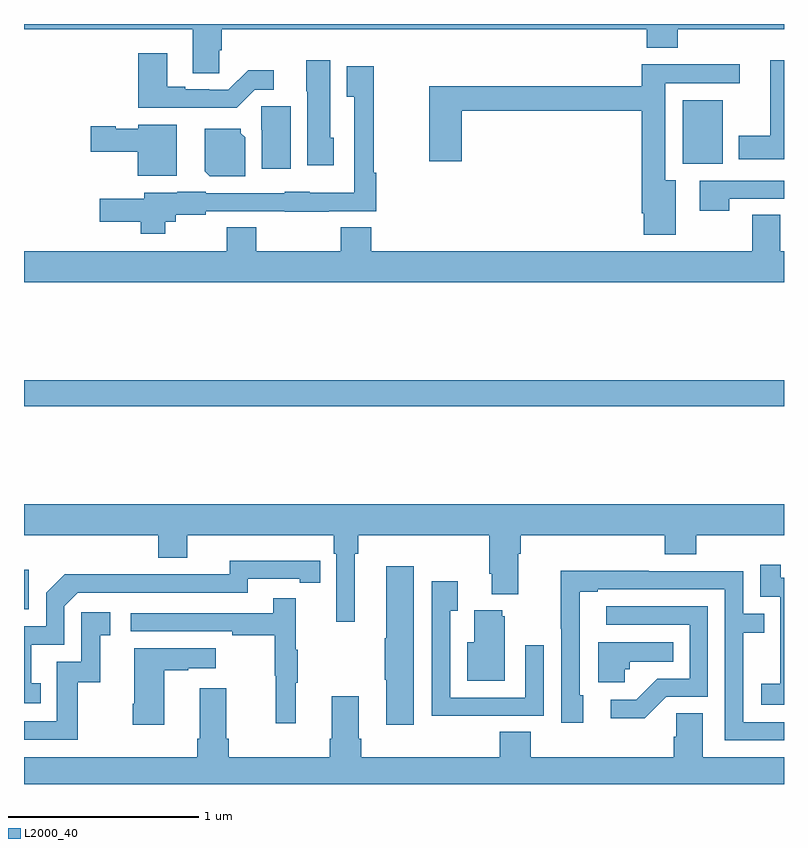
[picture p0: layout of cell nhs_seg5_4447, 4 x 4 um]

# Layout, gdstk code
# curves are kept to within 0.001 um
import gdstk
lib = gdstk.Library(unit=1e-6, precision=1e-09)
def R(c, l, rs):  # rectangles x0, y0, x1, y1
    for r in rs: c.add(gdstk.rectangle(r[:2], r[2:], *l))
def P(c, l, *ps):  # polygons
    for p in ps: c.add(gdstk.Polygon(p, *l))
L2000_40 = (2000, 40)

nhs_seg5_4447 = lib.new_cell('nhs_seg5_4447')
R(nhs_seg5_4447, L2000_40, [(373,841.719,373.026,841.927), (373,842.788,377,842.924), (376.466,844.064,376.678,844.399)])
P(nhs_seg5_4447, L2000_40, [(374.028,844.662),(374.042,844.662),(374.042,844.772),(376.277,844.772),(376.277,844.673),(376.442,844.673),(376.442,844.772),(377,844.772),(377,844.799),(373,844.799),(373,844.772),(373.889,844.772),(373.889,844.54),(374.028,844.54)],
  [(374.214,844.452),(374.314,844.452),(374.314,844.555),(374.179,844.555),(374.076,844.452),(373.976,844.452),(373.976,844.455),(373.849,844.455),(373.849,844.468),(373.753,844.468),(373.753,844.645),(373.601,844.645),(373.601,844.358),(374.12,844.358)],
  [(377,844.609),(376.928,844.609),(376.928,844.21),(376.763,844.21),(376.763,844.088),(377,844.088)],
  [(374.629,844.2),(374.611,844.2),(374.611,844.609),(374.486,844.609),(374.486,844.446),(374.492,844.446),(374.492,844.056),(374.629,844.056)],
  [(376.429,843.976),(376.375,843.976),(376.375,844.488),(376.768,844.488),(376.768,844.586),(376.25,844.586),(376.25,844.471),(375.134,844.471),(375.134,844.077),(375.305,844.077),(375.305,844.342),(376.25,844.342),(376.25,843.802),(376.262,843.802),(376.262,843.69),(376.429,843.69)],
  [(373.744,843.758),(373.799,843.758),(373.799,843.794),(373.956,843.794),(373.956,843.813),(374.373,843.813),(374.373,843.812),(374.605,843.812),(374.605,843.813),(374.855,843.813),(374.855,844.016),(374.84,844.016),(374.84,844.576),(374.699,844.576),(374.699,844.415),(374.739,844.415),(374.739,843.91),(374.505,843.91),(374.505,843.916),(374.373,843.916),(374.373,843.909),(373.956,843.909),(373.956,843.916),(373.806,843.916),(373.806,843.91),(373.634,843.91),(373.634,843.88),(373.398,843.88),(373.398,843.758),(373.615,843.758),(373.615,843.695),(373.744,843.695)],
  [(374.404,844.365),(374.248,844.365),(374.248,844.242),(374.252,844.242),(374.252,844.038),(374.404,844.038)],
  [(373.804,844.27),(373.602,844.27),(373.602,844.249),(373.482,844.249),(373.482,844.262),(373.35,844.262),(373.35,844.127),(373.598,844.127),(373.598,844.001),(373.804,844.001)],
  [(374.164,844.202),(374.142,844.224),(374.142,844.249),(373.952,844.249),(373.952,844.024),(373.978,843.998),(374.164,843.998)],
  [(376.713,843.879),(377,843.879),(377,843.975),(376.557,843.975),(376.557,843.816),(376.713,843.816)],
  [(377,843.604),(376.981,843.604),(376.981,843.794),(376.834,843.794),(376.834,843.604),(374.828,843.604),(374.828,843.728),(374.668,843.728),(374.668,843.604),(374.223,843.604),(374.223,843.728),(374.068,843.728),(374.068,843.604),(373,843.604),(373,843.44),(377,843.44)],
  [(374.74,842.012),(374.759,842.012),(374.759,842.108),(375.449,842.108),(375.449,841.906),(375.461,841.906),(375.461,841.799),(375.601,841.799),(375.601,842.012),(375.614,842.012),(375.614,842.108),(376.373,842.108),(376.373,842.009),(376.538,842.009),(376.538,842.108),(377,842.108),(377,842.272),(373,842.272),(373,842.108),(373.706,842.108),(373.706,841.991),(373.858,841.991),(373.858,842.108),(374.63,842.108),(374.63,842.012),(374.643,842.012),(374.643,841.653),(374.74,841.653)],
  [(373.088,841.329),(373.039,841.329),(373.039,841.533),(373.212,841.533),(373.212,841.734),(373.284,841.806),(374.178,841.806),(374.178,841.878),(374.45,841.878),(374.45,841.858),(374.558,841.858),(374.558,841.974),(374.082,841.975),(374.082,841.902),(373.622,841.902),(373.622,841.904),(373.214,841.904),(373.116,841.806),(373.116,841.629),(373,841.629),(373,841.224),(373.088,841.224)],
  [(377,841.884),(376.984,841.884),(376.984,841.954),(376.875,841.954),(376.875,841.785),(376.98,841.785),(376.98,841.556),(376.979,841.556),(376.979,841.327),(376.881,841.327),(376.881,841.217),(377,841.217)],
  [(375.052,841.945),(374.906,841.945),(374.906,841.565),(374.899,841.565),(374.899,841.348),(374.906,841.348),(374.906,841.11),(375.052,841.11)],
  [(377,841.125),(376.785,841.125),(376.785,841.594),(376.895,841.594),(376.895,841.695),(376.785,841.695),(376.785,841.92),(376.289,841.92),(376.289,841.922),(375.826,841.922),(375.826,841.615),(375.828,841.615),(375.828,841.122),(375.943,841.122),(375.943,841.266),(375.924,841.266),(375.924,841.618),(375.925,841.618),(375.925,841.812),(376.021,841.812),(376.021,841.824),(376.689,841.824),(376.689,841.029),(377,841.029)],
  [(375.419,841.158),(375.735,841.158),(375.735,841.528),(375.639,841.528),(375.639,841.254),(375.243,841.254),(375.243,841.711),(375.283,841.711),(375.283,841.867),(375.147,841.867),(375.147,841.157),(375.419,841.157)],
  [(374.429,841.331),(374.44,841.331),(374.44,841.505),(374.429,841.505),(374.429,841.777),(374.311,841.777),(374.311,841.698),(373.563,841.698),(373.563,841.602),(374.095,841.602),(374.095,841.582),(374.319,841.582),(374.319,841.368),(374.326,841.368),(374.326,841.119),(374.429,841.119)],
  [(376.38,841.257),(376.599,841.257),(376.599,841.734),(376.065,841.734),(376.065,841.638),(376.503,841.638),(376.503,841.353),(376.334,841.353),(376.223,841.242),(376.089,841.242),(376.089,841.145),(376.267,841.145)],
  [(375.529,841.683),(375.518,841.683),(375.518,841.714),(375.371,841.714),(375.371,841.546),(375.332,841.546),(375.332,841.343),(375.529,841.343)],
  [(373.282,841.335),(373.4,841.335),(373.4,841.581),(373.453,841.581),(373.453,841.702),(373.302,841.702),(373.302,841.443),(373.173,841.443),(373.173,841.128),(373,841.128),(373,841.032),(373.282,841.032)],
  [(376.161,841.404),(376.188,841.404),(376.188,841.442),(376.418,841.442),(376.418,841.546),(376.022,841.546),(376.022,841.334),(376.161,841.334)],
  [(373.738,841.399),(373.865,841.399),(373.865,841.409),(374.008,841.409),(374.008,841.513),(373.58,841.513),(373.58,841.222),(373.573,841.222),(373.573,841.11),(373.738,841.11)],
  [(373,840.799),(377,840.799),(377,840.94),(376.573,840.94),(376.573,841.172),(376.434,841.172),(376.434,841.049),(376.421,841.049),(376.421,840.94),(375.668,840.94),(375.668,841.073),(375.503,841.073),(375.503,840.94),(374.774,840.94),(374.774,841.036),(374.761,841.036),(374.761,841.261),(374.621,841.261),(374.621,841.036),(374.609,841.036),(374.609,840.94),(374.078,840.94),(374.078,841.036),(374.065,841.036),(374.065,841.303),(373.925,841.303),(373.925,841.036),(373.913,841.036),(373.913,840.94),(373,840.94)])

lib.write_gds('nhs_seg5_4447.gds')
